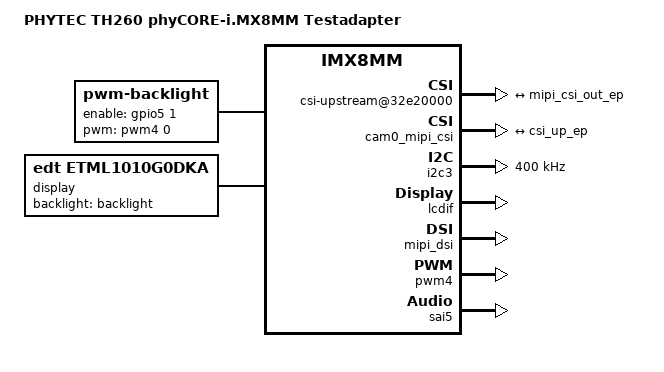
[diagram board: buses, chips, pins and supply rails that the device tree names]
// SPDX-License-Identifier: GPL-2.0
/*
 * Copyright (C) 2022 PHYTEC Messtechnik GmbH
 * Author: Christian Hemp <c.hemp@phytec.de>
 * Author: Teresa Remmet <t.remmet@phytec.de>
 *
 * Support for TH260 phyCORE-i.MX8MM Testadapter
 */

/dts-v1/;

#include "imx8mm-phycore-som.dtsi"
#include "imx8mm-phyboard-polis.dtsi"

/ {
	model = "PHYTEC TH260 phyCORE-i.MX8MM Testadapter";
	compatible = "phytec,imx8mm-th260", "phytec,imx8mm-phycore-som",
		     "fsl,imx8mm";

	backlight: backlight {
		compatible = "pwm-backlight";
		pinctrl-names = "default";
		pinctrl-0 = <&pinctrl_lcd>;
		default-brightness-level = <6>;
		pwms = <&pwm4 0 50000>;
		enable-gpios = <&gpio5 1 GPIO_ACTIVE_HIGH>;
		brightness-levels= <0 4 8 16 32 64 128 255>;
	};

	display: panel {
		compatible = "edt,etml1010g0dka";
		backlight = <&backlight>;
	};
};

&aips4 {
	csi-upstream@32e20000 {
		compatible = "fsl,imx8mm-csi", "fsl,imx7-csi";
		reg = <0x32e20000 0x1000>;
		interrupts = <GIC_SPI 16 IRQ_TYPE_LEVEL_HIGH>;
		clocks = <&clk IMX8MM_CLK_CSI1_ROOT>;
		clock-names = "mclk";
		dma-coherent;
		status = "okay";

		port {
			csi_up_ep: endpoint {
				remote-endpoint = <&mipi_csi_out_ep>;
			};
		};
	};

	cam0_mipi_csi: mipi-csi-upstream@32e30000 {
		compatible = "fsl,imx8mm-mipi-csi2";
		reg = <0x32e30000 0x1000>;
		interrupts = <GIC_SPI 17 IRQ_TYPE_LEVEL_HIGH>;
		clock-frequency = <500000000>;
		clocks = <&clk IMX8MM_CLK_DISP_APB_ROOT>,
			 <&clk IMX8MM_CLK_CSI1_ROOT>,
			 <&clk IMX8MM_CLK_CSI1_PHY_REF>,
			 <&clk IMX8MM_CLK_DISP_AXI_ROOT>;
		clock-names = "pclk", "wrap", "phy", "axi";
		power-domains = <&mipi_pd>;
		fsl,csis-hs-settle = <9>;
		status = "okay";

		#address-cells = <1>;
		#size-cells = <0>;

		port@0 {
			reg = <0>;
		};

		port@1 {
			reg = <1>;

			mipi_csi_out_ep: endpoint {
				remote-endpoint = <&csi_up_ep>;
			};
		};
	};
};

&csi1_bridge {
	status = "disabled";
};

/*
 * When phy on TH260 is used the IRQ is NC. If the phy is
 * populated on the SoM we can make use of an overlay and
 * set the properties again. As we can not delete anything
 * in overlays the other way around does not work.
 */
&ethphy0 {
	/delete-property/ interrupt-parent;
	/delete-property/ interrupts;
};

&flash0 {
	status = "okay";
};

cam0_i2c: &i2c3 {
	clock-frequency = <400000>;
	pinctrl-names = "default", "gpio";
	pinctrl-0 = <&pinctrl_i2c3>;
	pinctrl-1 = <&pinctrl_i2c3gpio>;
	status = "okay";
};

&lcdif {
        status = "okay";
};

&mipi_csi_1 {
	status = "disabled";
};

&mipi_dsi {
	sync-pol = <1>;
	pwr-delay = <10>;
	status = "okay";
};

&pwm4 {
	pinctrl-names = "default";
	pinctrl-0 = <&pinctrl_pwm4>;
	status = "okay";
};

/* FIXME: Needed? */
&sai5 {
	status = "okay";
};

&usdhc2 {
	no-1-8-v;
};

&iomuxc {
	pinctrl_i2c3: i2c3grp {
		fsl,pins = <
			MX8MM_IOMUXC_I2C3_SCL_I2C3_SCL          0x400001c3
			MX8MM_IOMUXC_I2C3_SDA_I2C3_SDA          0x400001c3
		>;
	};

	pinctrl_i2c3gpio: i2c3gpiogrp {
		fsl,pins = <
			MX8MM_IOMUXC_I2C3_SCL_GPIO5_IO18	0x1c3
			MX8MM_IOMUXC_I2C3_SDA_GPIO5_IO19	0x1c3
		>;
	};

	pinctrl_lcd: lcd0grp {
		fsl,pins = <
			MX8MM_IOMUXC_SAI3_TXD_GPIO5_IO1         0x12
		>;
	};

	pinctrl_pwm4: pwm4grp {
		fsl,pins = <
			MX8MM_IOMUXC_SAI3_MCLK_PWM4_OUT		0x12
		>;
	};
};
